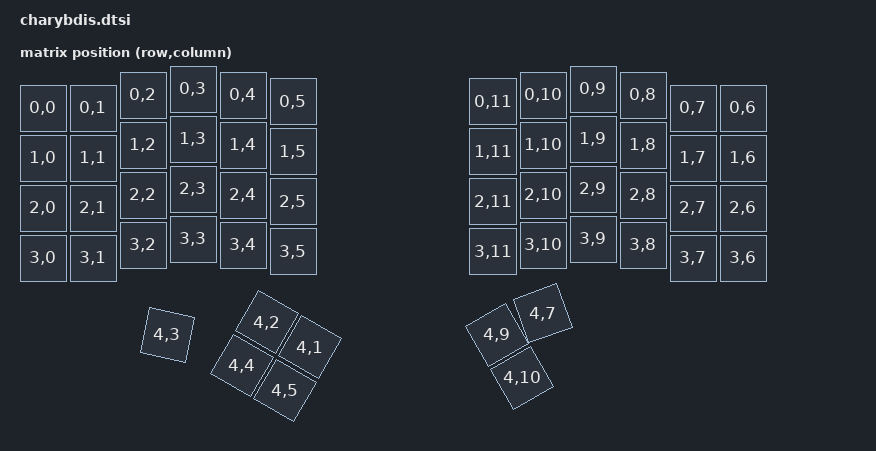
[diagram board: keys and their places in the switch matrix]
#include <dt-bindings/zmk/matrix_transform.h>
#include <physical_layouts.dtsi>

/ {
    chosen {
        zmk,kscan = &kscan0;
        zmk,physical-layout = &charybdis_6col_layout;
    };

    default_transform: keymap_transform_0 {
        compatible = "zmk,matrix-transform";
        columns = <12>;
        rows = <5>;

        map = <
	RC(0,0) RC(0,1) RC(0,2) RC(0,3) RC(0,4) RC(0,5)  RC(0,11) RC(0,10) RC(0,9) RC(0,8) RC(0,7) RC(0,6)
	RC(1,0) RC(1,1) RC(1,2) RC(1,3) RC(1,4) RC(1,5)  RC(1,11) RC(1,10) RC(1,9) RC(1,8) RC(1,7) RC(1,6)
	RC(2,0) RC(2,1) RC(2,2) RC(2,3) RC(2,4) RC(2,5)  RC(2,11) RC(2,10) RC(2,9) RC(2,8) RC(2,7) RC(2,6)
    RC(3,0) RC(3,1) RC(3,2) RC(3,3) RC(3,4) RC(3,5)  RC(3,11) RC(3,10) RC(3,9) RC(3,8) RC(3,7) RC(3,6)
		    RC(4,1) RC(4,2) RC(4,3) RC(4,4) RC(4,5)  RC(4,7) RC(4,9) RC(4,10)
        >;
    };
	
    kscan0: kscan {
        diode-direction = "row2col";
    };

    charybdis_6col_layout: charybdis_6col_layout {
        compatible = "zmk,physical-layout";
        display-name = "Charybdis 4x6";

        transform = <&default_transform>;

        keys
            // Main Keys - Row 0
            = <&key_physical_attrs 100 100    0   38       0     0     0>  // row: 0, col:  0
            , <&key_physical_attrs 100 100  100   38       0     0     0>  // row: 0, col:  1
            , <&key_physical_attrs 100 100  200   12       0     0     0>  // row: 0, col:  2
            , <&key_physical_attrs 100 100  300    0       0     0     0>  // row: 0, col:  3
            , <&key_physical_attrs 100 100  400   12       0     0     0>  // row: 0, col:  4
            , <&key_physical_attrs 100 100  500   25       0     0     0>  // row: 0, col:  5
            , <&key_physical_attrs 100 100  900   25       0     0     0>  // row: 0, col:  7
            , <&key_physical_attrs 100 100 1000   12       0     0     0>  // row: 0, col:  8
            , <&key_physical_attrs 100 100 1100    0       0     0     0>  // row: 0, col:  9
            , <&key_physical_attrs 100 100 1200   12       0     0     0>  // row: 0, col: 10
            , <&key_physical_attrs 100 100 1300   38       0     0     0>  // row: 0, col: 11
            , <&key_physical_attrs 100 100 1400   38       0     0     0>  // row: 0, col: 12

            // Row 1
            , <&key_physical_attrs 100 100    0  138       0     0     0>  // row: 1, col:  0
            , <&key_physical_attrs 100 100  100  138       0     0     0>  // row: 1, col:  1
            , <&key_physical_attrs 100 100  200  112       0     0     0>  // row: 1, col:  2
            , <&key_physical_attrs 100 100  300  100       0     0     0>  // row: 1, col:  3
            , <&key_physical_attrs 100 100  400  112       0     0     0>  // row: 1, col:  4
            , <&key_physical_attrs 100 100  500  125       0     0     0>  // row: 1, col:  5
            , <&key_physical_attrs 100 100  900  125       0     0     0>  // row: 1, col:  7
            , <&key_physical_attrs 100 100 1000  112       0     0     0>  // row: 1, col:  8
            , <&key_physical_attrs 100 100 1100  100       0     0     0>  // row: 1, col:  9
            , <&key_physical_attrs 100 100 1200  112       0     0     0>  // row: 1, col: 10
            , <&key_physical_attrs 100 100 1300  138       0     0     0>  // row: 1, col: 11
            , <&key_physical_attrs 100 100 1400  138       0     0     0>  // row: 1, col: 12

            // Row 2
            , <&key_physical_attrs 100 100    0  238       0     0     0>  // row: 2, col:  0
            , <&key_physical_attrs 100 100  100  238       0     0     0>  // row: 2, col:  1
            , <&key_physical_attrs 100 100  200  212       0     0     0>  // row: 2, col:  2
            , <&key_physical_attrs 100 100  300  200       0     0     0>  // row: 2, col:  3
            , <&key_physical_attrs 100 100  400  212       0     0     0>  // row: 2, col:  4
            , <&key_physical_attrs 100 100  500  225       0     0     0>  // row: 2, col:  5
            , <&key_physical_attrs 100 100  900  225       0     0     0>  // row: 2, col:  7
            , <&key_physical_attrs 100 100 1000  212       0     0     0>  // row: 2, col:  8
            , <&key_physical_attrs 100 100 1100  200       0     0     0>  // row: 2, col:  9
            , <&key_physical_attrs 100 100 1200  212       0     0     0>  // row: 2, col: 10
            , <&key_physical_attrs 100 100 1300  238       0     0     0>  // row: 2, col: 11
            , <&key_physical_attrs 100 100 1400  238       0     0     0>  // row: 2, col: 12

            // Row 3
            , <&key_physical_attrs 100 100    0  338       0     0     0>  // row: 3, col:  0
            , <&key_physical_attrs 100 100  100  338       0     0     0>  // row: 3, col:  1
            , <&key_physical_attrs 100 100  200  312       0     0     0>  // row: 3, col:  2
            , <&key_physical_attrs 100 100  300  300       0     0     0>  // row: 3, col:  3
            , <&key_physical_attrs 100 100  400  312       0     0     0>  // row: 3, col:  4
            , <&key_physical_attrs 100 100  500  325       0     0     0>  // row: 3, col:  5
            , <&key_physical_attrs 100 100  900  325       0     0     0>  // row: 3, col:  7
            , <&key_physical_attrs 100 100 1000  312       0     0     0>  // row: 3, col:  8
            , <&key_physical_attrs 100 100 1100  300       0     0     0>  // row: 3, col:  9
            , <&key_physical_attrs 100 100 1200  312       0     0     0>  // row: 3, col: 10
            , <&key_physical_attrs 100 100 1300  338       0     0     0>  // row: 3, col: 11
            , <&key_physical_attrs 100 100 1400  338       0     0     0>  // row: 3, col: 12

            // Thumb Cluster - Row 4
            , <&key_physical_attrs 100 100  398  453    3000   398   790>  // row: 4, col:  1, r:  30
            , <&key_physical_attrs 100 100  298  453    3000   398   790>  // row: 4, col:  2, r:  30
            , <&key_physical_attrs 100 100  355  418    1200     0     0>  // row: 4, col:  3, r:  12
            , <&key_physical_attrs 100 100  298  553    3000   398   790>  // row: 4, col:  4, r:  30
            , <&key_physical_attrs 100 100  398  553    3000   398   790>  // row: 4, col:  5, r:  30
            , <&key_physical_attrs 100 100 1102  448 (-2000)  1102   790>  // row: 4, col:  7, r: -20
            , <&key_physical_attrs 100 100 1052  453 (-3000)  1102   790>  // row: 4, col:  9, r: -30
            , <&key_physical_attrs 100 100 1052  553 (-3000)  1102   790>  // row: 4, col: 10, r: -30
            ;
    };

    charybdis_position_map {
        compatible = "zmk,physical-layout-position-map";

        complete;

        twelve {
            physical-layout = <&charybdis_6col_layout>;
            positions
                = < 0  1  2  3  4  5  6  7  8  9 10 11 >
                , <12 13 14 15 16 17 18 19 20 21 22 23 >
                , <24 25 26 27 28 29 30 31 32 33 34 35 >
                , <36 37 38 39 40 41 42 43 44 45 46 47 >
                , <   48 49 50 51 52 53 54 55          >
                ;
        };
    };
};











